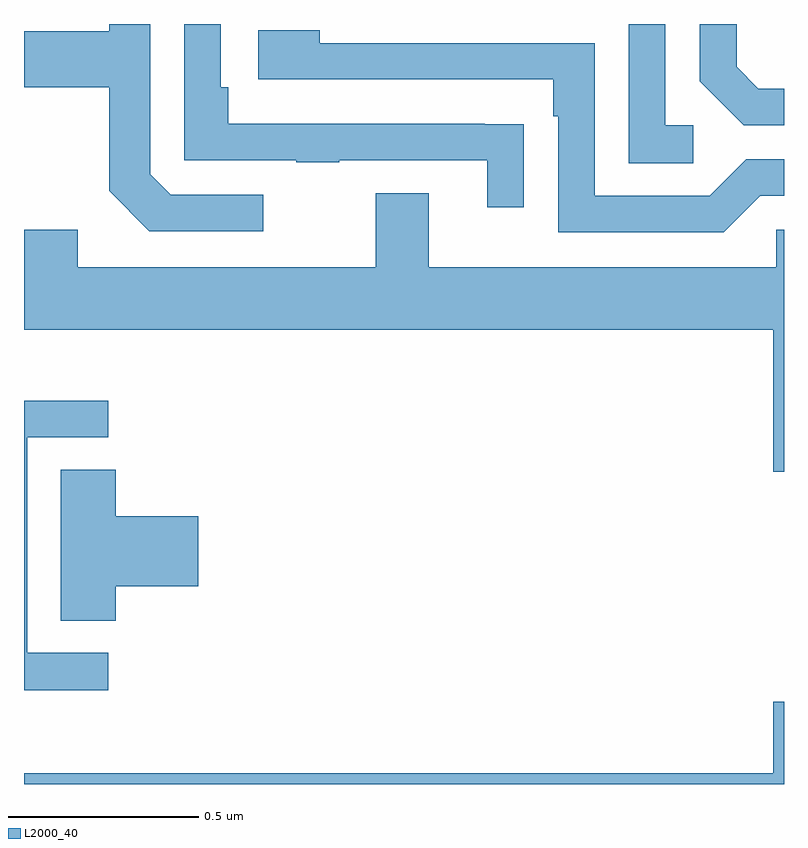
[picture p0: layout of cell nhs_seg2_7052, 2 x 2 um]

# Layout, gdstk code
import gdstk
lib = gdstk.Library(unit=1e-6, precision=1e-09)
def P(c, l, *ps):  # polygons
    for p in ps: c.add(gdstk.Polygon(p, *l))
L2000_40 = (2000, 40)

nhs_seg2_7052 = lib.new_cell('nhs_seg2_7052')
P(nhs_seg2_7052, L2000_40, [(200.315,621.536),(200.213,621.536),(200.213,621.537),(199.538,621.537),(199.538,621.634),(199.518,621.634),(199.518,621.8),(199.422,621.8),(199.422,621.441),(199.717,621.441),(199.717,621.436),(199.829,621.436),(199.829,621.441),(200.219,621.441),(200.219,621.318),(200.315,621.318)],
  [(200.761,621.534),(200.688,621.534),(200.688,621.8),(200.592,621.8),(200.592,621.433),(200.761,621.433)],
  [(201,621.63),(200.932,621.63),(200.875,621.687),(200.875,621.8),(200.778,621.8),(200.778,621.65),(200.894,621.534),(201,621.534)],
  [(199.63,621.351),(199.386,621.351),(199.332,621.405),(199.332,621.8),(199.224,621.8),(199.224,621.781),(199,621.781),(199,621.634),(199.224,621.634),(199.224,621.361),(199.329,621.255),(199.63,621.255)],
  [(200.937,621.348),(201,621.348),(201,621.444),(200.901,621.444),(200.805,621.348),(200.502,621.348),(200.502,621.75),(199.778,621.75),(199.778,621.784),(199.617,621.784),(199.617,621.654),(200.393,621.654),(200.393,621.557),(200.406,621.557),(200.406,621.252),(200.841,621.252)],
  [(201,621.258),(200.979,621.258),(200.979,621.16),(200.065,621.16),(200.065,621.355),(199.925,621.355),(199.925,621.16),(199.141,621.16),(199.141,621.259),(199,621.259),(199,620.996),(200.972,620.996),(200.972,620.622),(201,620.622)],
  [(199.222,620.145),(199.008,620.145),(199.008,620.712),(199.222,620.712),(199.222,620.808),(199,620.808),(199,620.047),(199.222,620.047)],
  [(199.241,620.321),(199.459,620.321),(199.459,620.504),(199.241,620.504),(199.241,620.627),(199.097,620.627),(199.097,620.23),(199.241,620.23)],
  [(201,620.017),(200.972,620.017),(200.972,619.828),(199,619.828),(199,619.8),(201,619.8)])

lib.write_gds('nhs_seg2_7052.gds')
